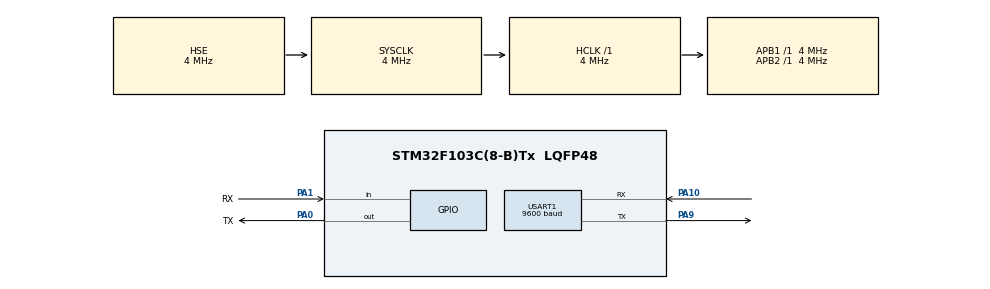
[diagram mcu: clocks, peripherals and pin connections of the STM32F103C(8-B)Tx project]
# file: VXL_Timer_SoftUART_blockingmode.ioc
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Mcu.Family=STM32F1
Mcu.Name=STM32F103C(8-B)Tx
Mcu.Package=LQFP48
NVIC.PriorityGroup=NVIC_PRIORITYGROUP_4
PA0-WKUP.GPIO_Label=TX
PA0-WKUP.Signal=GPIO_Output
PA1.GPIO_Label=RX
PA1.GPIO_PuPd=GPIO_PULLUP
PA1.Signal=GPIO_Input
PA10.Mode=Asynchronous
PA10.Signal=USART1_RX
PA13.Mode=Serial_Wire
PA13.Signal=SYS_JTMS-SWDIO
PA14.Mode=Serial_Wire
PA14.Signal=SYS_JTCK-SWCLK
PA9.Mode=Asynchronous
PA9.Signal=USART1_TX
PD0-OSC_IN.Mode=HSE-External-Oscillator
PD0-OSC_IN.Signal=RCC_OSC_IN
PD1-OSC_OUT.Mode=HSE-External-Oscillator
PD1-OSC_OUT.Signal=RCC_OSC_OUT
ProjectManager.HeapSize=0x200
ProjectManager.StackSize=0x400
ProjectManager.TargetToolchain=MDK-ARM V5.32
RCC.AHBFreq_Value=4000000
RCC.APB1Freq_Value=4000000
RCC.APB1TimFreq_Value=4000000
RCC.APB2Freq_Value=4000000
RCC.APB2TimFreq_Value=4000000
RCC.HCLKFreq_Value=4000000
RCC.HSE_VALUE=4000000
RCC.SYSCLKFreq_VALUE=4000000
RCC.SYSCLKSource=RCC_SYSCLKSOURCE_HSE
USART1.BaudRate=9600
USART1.VirtualMode=VM_ASYNC
VP_TIM1_VS_ClockSourceINT.Mode=Internal
board=custom

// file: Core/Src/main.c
/* USER CODE BEGIN Header */
/**
  ******************************************************************************
  * @file           : main.c
  * @brief          : Main program body
  ******************************************************************************
  * @attention
  *
  * Copyright (c) 2023 STMicroelectronics.
  * All rights reserved.
  *
  * This software is licensed under terms that can be found in the LICENSE file
  * in the root directory of this software component.
  * If no LICENSE file comes with this software, it is provided AS-IS.
  *
  ******************************************************************************
  */
/* USER CODE END Header */
#include "main.h"

/* USER CODE BEGIN Includes */
#include <stdio.h>
struct __FILE
{
  int handle;
  /* Whatever you require here. If the only file you are using is */
  /* standard output using printf() for debugging, no file handling */
  /* is required. */
};
/* FILE is typedef?d in stdio.h. */
FILE __stdout;

/* USER CODE END Includes */

TIM_HandleTypeDef htim1;

UART_HandleTypeDef huart1;

/* USER CODE BEGIN PV */
typedef struct
{
  uint32_t BaudRate;                  /*!< This member configures the UART communication baud rate.
                                           The baud rate is computed using the following formula:
                                           - IntegerDivider = ((PCLKx) / (16 * (huart->Init.BaudRate)))
                                           - FractionalDivider = ((IntegerDivider - ((uint32_t) IntegerDivider)) * 16) + 0.5 */

  uint32_t WordLength;                /*!< Specifies the number of data bits transmitted or received in a frame.
                                           This parameter can be a value of @ref UART_Word_Length */

  uint32_t StopBits;                  /*!< Specifies the number of stop bits transmitted.
                                           This parameter can be a value of @ref UART_Stop_Bits */

  uint32_t Parity;                    /*!< Specifies the parity mode.
                                           This parameter can be a value of @ref UART_Parity
                                           @note When parity is enabled, the computed parity is inserted
                                                 at the MSB position of the transmitted data (9th bit when
                                                 the word length is set to 9 data bits; 8th bit when the
                                                 word length is set to 8 data bits). */
	uint32_t 			Delay;											/* Delay between bit send/receive */
	GPIO_TypeDef 	*TX_port;
	uint16_t 			TX_pin;
	GPIO_TypeDef 	*RX_port;
	uint16_t 			RX_pin;
} SoftUART_TypeDef;

SoftUART_TypeDef suart1;

uint8_t s1[] = "my";
uint8_t s2[] = "teacher";
/* USER CODE END PV */

void SystemClock_Config(void);
static void MX_GPIO_Init(void);
static void MX_TIM1_Init(void);
static void MX_USART1_UART_Init(void);
static void SoftUART_Init(void);

/* USER CODE BEGIN 0 */

void SoftUART_Transmit(uint8_t ch) {
	// START bit
	HAL_GPIO_WritePin(suart1.TX_port, suart1.TX_pin, GPIO_PIN_RESET);
	__HAL_TIM_SET_COUNTER(&htim1,0);
	while (__HAL_TIM_GET_COUNTER(&htim1) < suart1.Delay) ;
	// Data bits
	for (uint8_t i =0; i < 8; i++)
	{
		HAL_GPIO_WritePin(suart1.TX_port, suart1.TX_pin,(GPIO_PinState)(ch&(1<<i)));
		__HAL_TIM_SET_COUNTER(&htim1,0);
		while (__HAL_TIM_GET_COUNTER(&htim1) < suart1.Delay) ;
	}

	// STOP bit
	HAL_GPIO_WritePin(suart1.TX_port, suart1.TX_pin, GPIO_PIN_SET);
	__HAL_TIM_SET_COUNTER(&htim1,0);
	while (__HAL_TIM_GET_COUNTER(&htim1) < suart1.Delay) ;
}

void SoftUART_print(SoftUART_TypeDef *suart, uint8_t *s) {
	uint32_t i=0;
	while (*(s+i) != 0) {
		SoftUART_Transmit(*(s+i));
		i=i+1;
	}
}

int fputc(int ch, FILE *f)
{
  SoftUART_Transmit(*(uint8_t *)&ch);
  return ch;
}

uint8_t SoftUART_getc(SoftUART_TypeDef *suart, uint32_t timeouttick) {
	uint32_t BaudTick;
	uint8_t ReceivedByte;
	// wait for Start (LOW) signal
		__HAL_TIM_SET_COUNTER(&htim1,0);
	while(0 != HAL_GPIO_ReadPin(suart->RX_port, suart->RX_pin)) {
		if (__HAL_TIM_GET_COUNTER(&htim1) > suart->Delay) {
			if (timeouttick>0) {
				timeouttick = timeouttick - 1;
			}
			else {
				return 0;  // Timeout return 0
			}
		}
	}

	__HAL_TIM_SET_COUNTER(&htim1,0);
	while (__HAL_TIM_GET_COUNTER(&htim1) < 3*(suart->Delay)/2);

	for (uint8_t i=0;i<8;i++) {
		ReceivedByte = ReceivedByte|(HAL_GPIO_ReadPin(suart->RX_port, suart->RX_pin)<<i);
		__HAL_TIM_SET_COUNTER(&htim1,0);
		while (__HAL_TIM_GET_COUNTER(&htim1) < (suart->Delay));
	}

		__HAL_TIM_SET_COUNTER(&htim1,0);
	while (__HAL_TIM_GET_COUNTER(&htim1) < (suart->Delay)/2);

	// wait for release (HIGH) signal
	while(0 == HAL_GPIO_ReadPin(suart->RX_port, suart->RX_pin));

	return ReceivedByte;
}

/* USER CODE END 0 */

int main(void)
{

  /* MCU Configuration--------------------------------------------------------*/

  /* Reset of all peripherals, Initializes the Flash interface and the Systick. */
  HAL_Init();

  /* Configure the system clock */
  SystemClock_Config();

  /* Initialize all configured peripherals */
  MX_GPIO_Init();
  MX_TIM1_Init();
  MX_USART1_UART_Init();
  /* USER CODE BEGIN 2 */
	SoftUART_Init();
	HAL_GPIO_WritePin(TX_GPIO_Port, TX_Pin, GPIO_PIN_SET);
	HAL_TIM_Base_Start(&htim1);
  uint8_t ch = 0;

	SoftUART_Transmit('h');
	SoftUART_Transmit('e');
	SoftUART_Transmit('l');
	SoftUART_Transmit('l');
	SoftUART_Transmit('o');
	SoftUART_Transmit(' ');

	printf("%s",s1);
	SoftUART_Transmit(' ');

	SoftUART_print(&suart1,(uint8_t *)s2);
/* USER CODE END 2 */

  /* Infinite loop */
  while (1)
  {
    ch = SoftUART_getc(&suart1,HAL_MAX_DELAY);
		printf("%c",ch);
  }
}

void SystemClock_Config(void)
{
  RCC_OscInitTypeDef RCC_OscInitStruct = {0};
  RCC_ClkInitTypeDef RCC_ClkInitStruct = {0};

  /** Initializes the RCC Oscillators according to the specified parameters
  * in the RCC_OscInitTypeDef structure.
  */
  RCC_OscInitStruct.OscillatorType = RCC_OSCILLATORTYPE_HSE;
  RCC_OscInitStruct.HSEState = RCC_HSE_ON;
  RCC_OscInitStruct.PLL.PLLState = RCC_PLL_NONE;
  if (HAL_RCC_OscConfig(&RCC_OscInitStruct) != HAL_OK)
  {
    Error_Handler();
  }

  /** Initializes the CPU, AHB and APB buses clocks
  */
  RCC_ClkInitStruct.ClockType = RCC_CLOCKTYPE_HCLK|RCC_CLOCKTYPE_SYSCLK
                              |RCC_CLOCKTYPE_PCLK1|RCC_CLOCKTYPE_PCLK2;
  RCC_ClkInitStruct.SYSCLKSource = RCC_SYSCLKSOURCE_HSE;
  RCC_ClkInitStruct.AHBCLKDivider = RCC_SYSCLK_DIV1;
  RCC_ClkInitStruct.APB1CLKDivider = RCC_HCLK_DIV1;
  RCC_ClkInitStruct.APB2CLKDivider = RCC_HCLK_DIV1;

  if (HAL_RCC_ClockConfig(&RCC_ClkInitStruct, FLASH_LATENCY_0) != HAL_OK)
  {
    Error_Handler();
  }
}

static void MX_TIM1_Init(void)
{

  TIM_ClockConfigTypeDef sClockSourceConfig = {0};
  TIM_MasterConfigTypeDef sMasterConfig = {0};

  htim1.Instance = TIM1;
  htim1.Init.Prescaler = 0;
  htim1.Init.CounterMode = TIM_COUNTERMODE_UP;
  htim1.Init.Period = 65535;
  htim1.Init.ClockDivision = TIM_CLOCKDIVISION_DIV1;
  htim1.Init.RepetitionCounter = 0;
  htim1.Init.AutoReloadPreload = TIM_AUTORELOAD_PRELOAD_DISABLE;
  if (HAL_TIM_Base_Init(&htim1) != HAL_OK)
  {
    Error_Handler();
  }
  sClockSourceConfig.ClockSource = TIM_CLOCKSOURCE_INTERNAL;
  if (HAL_TIM_ConfigClockSource(&htim1, &sClockSourceConfig) != HAL_OK)
  {
    Error_Handler();
  }
  sMasterConfig.MasterOutputTrigger = TIM_TRGO_RESET;
  sMasterConfig.MasterSlaveMode = TIM_MASTERSLAVEMODE_DISABLE;
  if (HAL_TIMEx_MasterConfigSynchronization(&htim1, &sMasterConfig) != HAL_OK)
  {
    Error_Handler();
  }

}

static void MX_USART1_UART_Init(void)
{

  huart1.Instance = USART1;
  huart1.Init.BaudRate = 9600;
  huart1.Init.WordLength = UART_WORDLENGTH_8B;
  huart1.Init.StopBits = UART_STOPBITS_1;
  huart1.Init.Parity = UART_PARITY_NONE;
  huart1.Init.Mode = UART_MODE_TX_RX;
  huart1.Init.HwFlowCtl = UART_HWCONTROL_NONE;
  huart1.Init.OverSampling = UART_OVERSAMPLING_16;
  if (HAL_UART_Init(&huart1) != HAL_OK)
  {
    Error_Handler();
  }

}

static void MX_GPIO_Init(void)
{
  GPIO_InitTypeDef GPIO_InitStruct = {0};

  /* GPIO Ports Clock Enable */
  __HAL_RCC_GPIOC_CLK_ENABLE();
  __HAL_RCC_GPIOD_CLK_ENABLE();
  __HAL_RCC_GPIOA_CLK_ENABLE();
  __HAL_RCC_GPIOB_CLK_ENABLE();

  /*Configure GPIO pin Output Level */
  HAL_GPIO_WritePin(TX_GPIO_Port, TX_Pin, GPIO_PIN_RESET);

  /*Configure GPIO pins : PC13 PC14 PC15 */
  GPIO_InitStruct.Pin = GPIO_PIN_13|GPIO_PIN_14|GPIO_PIN_15;
  GPIO_InitStruct.Mode = GPIO_MODE_ANALOG;
  HAL_GPIO_Init(GPIOC, &GPIO_InitStruct);

  /*Configure GPIO pin : TX_Pin */
  GPIO_InitStruct.Pin = TX_Pin;
  GPIO_InitStruct.Mode = GPIO_MODE_OUTPUT_PP;
  GPIO_InitStruct.Pull = GPIO_NOPULL;
  GPIO_InitStruct.Speed = GPIO_SPEED_FREQ_LOW;
  HAL_GPIO_Init(TX_GPIO_Port, &GPIO_InitStruct);

  /*Configure GPIO pin : RX_Pin */
  GPIO_InitStruct.Pin = RX_Pin;
  GPIO_InitStruct.Mode = GPIO_MODE_INPUT;
  GPIO_InitStruct.Pull = GPIO_PULLUP;
  HAL_GPIO_Init(RX_GPIO_Port, &GPIO_InitStruct);

  /*Configure GPIO pins : PA2 PA3 PA4 PA5
                           PA6 PA7 PA8 PA11
                           PA12 PA15 */
  GPIO_InitStruct.Pin = GPIO_PIN_2|GPIO_PIN_3|GPIO_PIN_4|GPIO_PIN_5
                          |GPIO_PIN_6|GPIO_PIN_7|GPIO_PIN_8|GPIO_PIN_11
                          |GPIO_PIN_12|GPIO_PIN_15;
  GPIO_InitStruct.Mode = GPIO_MODE_ANALOG;
  HAL_GPIO_Init(GPIOA, &GPIO_InitStruct);

  /*Configure GPIO pins : PB0 PB1 PB2 PB10
                           PB11 PB12 PB13 PB14
                           PB15 PB3 PB4 PB5
                           PB6 PB7 PB8 PB9 */
  GPIO_InitStruct.Pin = GPIO_PIN_0|GPIO_PIN_1|GPIO_PIN_2|GPIO_PIN_10
                          |GPIO_PIN_11|GPIO_PIN_12|GPIO_PIN_13|GPIO_PIN_14
                          |GPIO_PIN_15|GPIO_PIN_3|GPIO_PIN_4|GPIO_PIN_5
                          |GPIO_PIN_6|GPIO_PIN_7|GPIO_PIN_8|GPIO_PIN_9;
  GPIO_InitStruct.Mode = GPIO_MODE_ANALOG;
  HAL_GPIO_Init(GPIOB, &GPIO_InitStruct);

}

/* USER CODE BEGIN 4 */
static void SoftUART_Init(void) {
	#define TIMTICKUS	0.25
  suart1.BaudRate = 9600;
	suart1.Delay = (1000000/suart1.BaudRate)/TIMTICKUS - 24;
  suart1.WordLength = UART_WORDLENGTH_8B;
  suart1.StopBits = UART_STOPBITS_1;
  suart1.Parity = UART_PARITY_NONE;
	suart1.TX_port = GPIOA;
	suart1.TX_pin	= GPIO_PIN_0;
	suart1.RX_port = GPIOA;
	suart1.RX_pin	= GPIO_PIN_1;
}
/* USER CODE END 4 */

void Error_Handler(void)
{
  __disable_irq();
  while (1)
  {
  }
}
